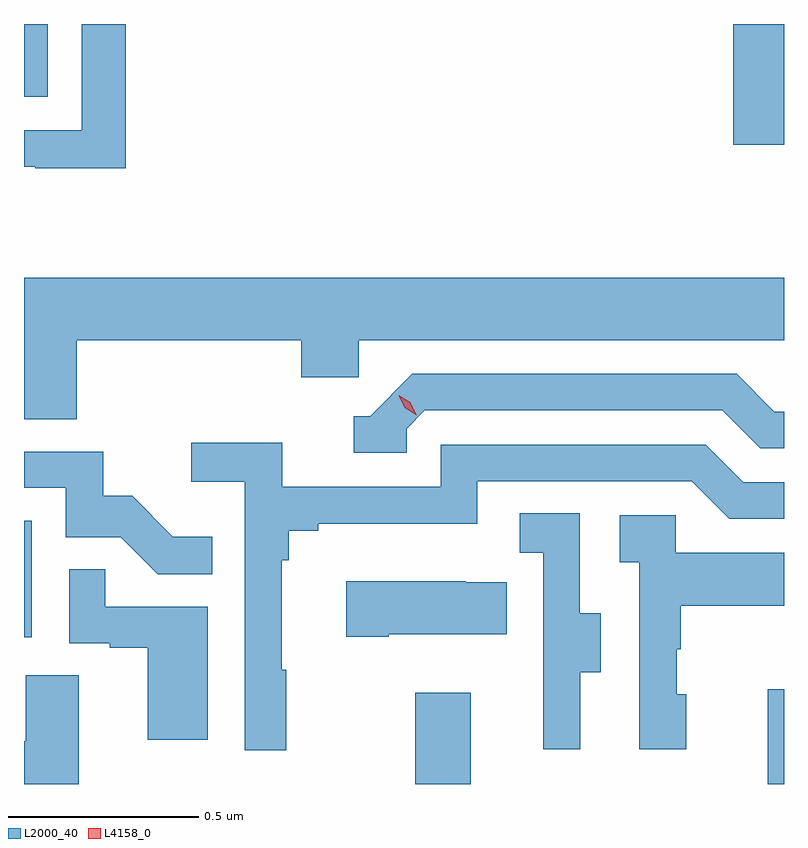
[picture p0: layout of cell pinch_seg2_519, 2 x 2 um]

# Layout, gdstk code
import gdstk
lib = gdstk.Library(unit=1e-6, precision=1e-09)
def R(c, l, rs):  # rectangles x0, y0, x1, y1
    for r in rs: c.add(gdstk.rectangle(r[:2], r[2:], *l))
def P(c, l, *ps):  # polygons
    for p in ps: c.add(gdstk.Polygon(p, *l))
L2000_40 = (2000, 40)
L4158_0 = (4158, 0)

pinch_seg2_519 = lib.new_cell('pinch_seg2_519')
R(pinch_seg2_519, L2000_40, [(953.26,590.524,953.407,590.764), (954.188,590.524,954.231,590.773), (952.231,590.91,952.252,591.217), (954.098,592.206,954.231,592.524), (952.231,592.332,952.294,592.524)])
P(pinch_seg2_519, L2000_40, [(952.499,592.524),(952.383,592.524),(952.383,592.245),(952.231,592.245),(952.231,592.149),(952.261,592.149),(952.261,592.144),(952.499,592.144)],
  [(952.37,591.692),(952.961,591.692),(952.961,591.594),(953.112,591.594),(953.112,591.692),(954.231,591.692),(954.231,591.856),(952.231,591.856),(952.231,591.484),(952.37,591.484)],
  [(953.238,591.459),(953.286,591.507),(954.069,591.507),(954.168,591.408),(954.231,591.408),(954.231,591.504),(954.205,591.504),(954.106,591.603),(953.253,591.603),(953.142,591.492),(953.099,591.492),(953.099,591.396),(953.238,591.396)],
  [(952.921,590.825),(952.909,590.825),(952.909,591.113),(952.928,591.113),(952.928,591.19),(953.005,591.19),(953.005,591.209),(953.424,591.209),(953.424,591.321),(953.988,591.321),(954.087,591.222),(954.231,591.222),(954.231,591.318),(954.124,591.318),(954.025,591.417),(953.328,591.417),(953.328,591.306),(952.91,591.306),(952.91,591.422),(952.671,591.422),(952.671,591.32),(952.812,591.32),(952.812,590.613),(952.921,590.613)],
  [(952.727,591.175),(952.623,591.175),(952.516,591.282),(952.44,591.282),(952.44,591.399),(952.231,591.399),(952.231,591.303),(952.341,591.303),(952.341,591.174),(952.485,591.174),(952.583,591.076),(952.727,591.076)],
  [(953.695,590.818),(953.749,590.818),(953.749,590.973),(953.694,590.973),(953.694,591.236),(953.535,591.236),(953.535,591.133),(953.598,591.133),(953.598,590.829),(953.597,590.829),(953.597,590.616),(953.695,590.616)],
  [(953.974,590.76),(953.949,590.76),(953.949,590.879),(953.959,590.879),(953.959,590.993),(954.231,590.993),(954.231,591.133),(953.946,591.133),(953.946,591.231),(953.799,591.231),(953.799,591.107),(953.85,591.107),(953.85,590.616),(953.974,590.616)],
  [(952.714,590.991),(952.445,590.991),(952.445,591.089),(952.35,591.089),(952.35,590.895),(952.457,590.895),(952.457,590.883),(952.556,590.883),(952.556,590.64),(952.714,590.64)],
  [(953.191,590.918),(953.501,590.918),(953.501,591.055),(953.393,591.055),(953.393,591.058),(953.079,591.058),(953.079,590.911),(953.191,590.911)],
  [(952.375,590.81),(952.235,590.81),(952.235,590.636),(952.231,590.636),(952.231,590.524),(952.375,590.524)])
P(pinch_seg2_519, L4158_0, [(953.264,591.495),(953.233,591.514),(953.217,591.547),(953.217,591.547),(953.217,591.547),(953.248,591.528),(953.264,591.495),(953.264,591.495)])

lib.write_gds('pinch_seg2_519.gds')
